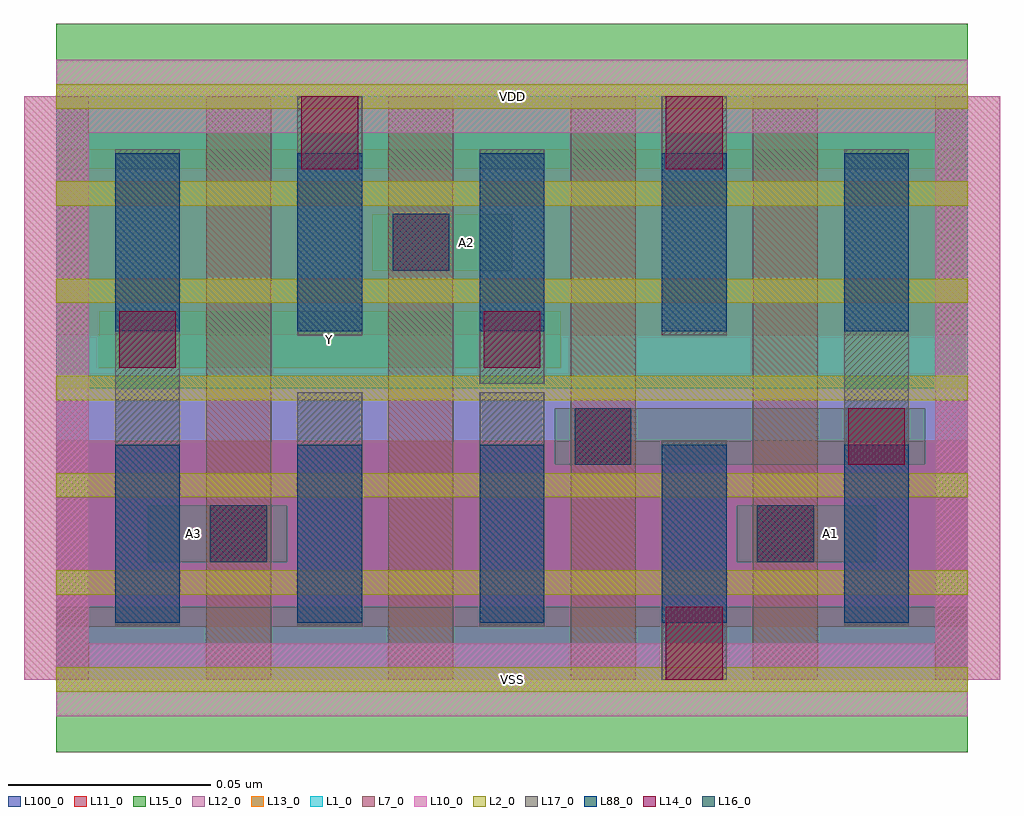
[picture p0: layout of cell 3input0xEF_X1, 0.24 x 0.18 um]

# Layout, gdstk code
import gdstk
lib = gdstk.Library(unit=1e-6, precision=2.5e-10)
def R(c, l, rs):  # rectangles x0, y0, x1, y1
    for r in rs: c.add(gdstk.rectangle(r[:2], r[2:], *l))
def A(c, l, x, y, w, h, nx, ny, dx, dy):  # array of equal rectangles
    R(c, l, [(x+i*dx, y+j*dy, x+i*dx+w, y+j*dy+h) for i in range(nx) for j in range(ny)])
def P(c, l, *ps):  # polygons
    for p in ps: c.add(gdstk.Polygon(p, *l))
L1_0 = (1, 0)
L2_0 = (2, 0)
L7_0 = (7, 0)
L10_0 = (10, 0)
L11_0 = (11, 0)
L12_0 = (12, 0)
L13_0 = (13, 0)
L14_0 = (14, 0)
L15_0 = (15, 0)
L16_0 = (16, 0)
L17_0 = (17, 0)
L88_0 = (88, 0)
L100_0 = (100, 0)

c_3input0xef_x1 = lib.new_cell('3input0xEF_X1')
R(c_3input0xef_x1, L1_0, [(0,0.072,0.225,0.144)])
A(c_3input0xef_x1, L2_0, 0, -0.003, 0.225, 0.006, 1, 7, 0, 0.024)
A(c_3input0xef_x1, L7_0, -0.008, 0, 0.016, 0.144, 6, 1, 0.045, 0)
P(c_3input0xef_x1, L10_0, [(0,-0.009),(0,0),(-0.008,0),(-0.008,0.135),(0.008,0.135),(0.008,0.009),(0.217,0.009),(0.217,0.135),(-0.008,0.135),(-0.008,0.144),(0,0.144),(0,0.153),(0.225,0.153),(0.225,0.144),(0.233,0.144),(0.233,0),(0.225,0),(0.225,-0.009)])
R(c_3input0xef_x1, L11_0, [(0,0.013,0.225,0.059), (0,0.085,0.225,0.131)])
R(c_3input0xef_x1, L12_0, [(0,0,0.225,0.072)])
R(c_3input0xef_x1, L13_0, [(0,0.072,0.225,0.144)])
R(c_3input0xef_x1, L14_0, [(0.1505,0,0.1645,0.018), (0.038,0.029,0.052,0.043), (0.173,0.029,0.187,0.043), (0.128,0.053,0.142,0.067), (0.1955,0.053,0.2095,0.067), (0.0155,0.077,0.0295,0.091), (0.1055,0.077,0.1195,0.091), (0.083,0.101,0.097,0.115), (0.0605,0.126,0.0745,0.144), (0.1505,0.126,0.1645,0.144)])
R(c_3input0xef_x1, L15_0, [(0,-0.018,0.225,0.018), (0.0225,0.029,0.057,0.043), (0.168,0.029,0.2025,0.043), (0.123,0.053,0.2145,0.067), (0.0105,0.077,0.1245,0.091), (0.078,0.101,0.1125,0.115), (0,0.126,0.225,0.162)])
R(c_3input0xef_x1, L16_0, [(0.038,0.029,0.052,0.043), (0.173,0.029,0.187,0.043), (0.128,0.053,0.142,0.067), (0.083,0.101,0.097,0.115)])
R(c_3input0xef_x1, L17_0, [(0.1495,0,0.1655,0.059), (0.0145,0.013,0.0305,0.131), (0.0595,0.013,0.0755,0.071), (0.1045,0.013,0.1205,0.071), (0.1945,0.013,0.2105,0.131), (0.1045,0.073,0.1205,0.131), (0.0595,0.085,0.0755,0.144), (0.1495,0.085,0.1655,0.144)])
A(c_3input0xef_x1, L88_0, 0.0145, 0.014, 0.016, 0.044, 5, 2, 0.045, 0.072)
R(c_3input0xef_x1, L100_0, [(0,0,0.225,0.144)])
c_3input0xef_x1.add(gdstk.Label('A1', (0.1913,0.036), layer=15, texttype=251))
c_3input0xef_x1.add(gdstk.Label('VSS', (0.1125,0), layer=15, texttype=251))
c_3input0xef_x1.add(gdstk.Label('VDD', (0.1125,0.144), layer=15, texttype=251))
c_3input0xef_x1.add(gdstk.Label('A2', (0.1013,0.108), layer=15, texttype=251))
c_3input0xef_x1.add(gdstk.Label('VSS', (0.1125,0), layer=15, texttype=251))
c_3input0xef_x1.add(gdstk.Label('VDD', (0.1125,0.144), layer=15, texttype=251))
c_3input0xef_x1.add(gdstk.Label('Y', (0.0675,0.084), layer=15, texttype=251))
c_3input0xef_x1.add(gdstk.Label('VSS', (0.1125,0), layer=15, texttype=251))
c_3input0xef_x1.add(gdstk.Label('VDD', (0.1125,0.144), layer=15, texttype=251))
c_3input0xef_x1.add(gdstk.Label('A3', (0.0338,0.036), layer=15, texttype=251))
c_3input0xef_x1.add(gdstk.Label('VSS', (0.1125,0), layer=15, texttype=251))
c_3input0xef_x1.add(gdstk.Label('VDD', (0.1125,0.144), layer=15, texttype=251))
c_3input0xef_x1.add(gdstk.Label('VSS', (0.1125,0), layer=3, texttype=251))
c_3input0xef_x1.add(gdstk.Label('VSS', (0.1125,0), layer=3, texttype=251))
c_3input0xef_x1.add(gdstk.Label('VSS', (0.1125,0), layer=3, texttype=251))
c_3input0xef_x1.add(gdstk.Label('VSS', (0.1125,0), layer=3, texttype=251))
c_3input0xef_x1.add(gdstk.Label('VDD', (0.1125,0.144), layer=1, texttype=251))
c_3input0xef_x1.add(gdstk.Label('VDD', (0.1125,0.144), layer=1, texttype=251))
c_3input0xef_x1.add(gdstk.Label('VDD', (0.1125,0.144), layer=1, texttype=251))
c_3input0xef_x1.add(gdstk.Label('VDD', (0.1125,0.144), layer=1, texttype=251))

lib.write_gds('3input0xEF_X1.gds')
